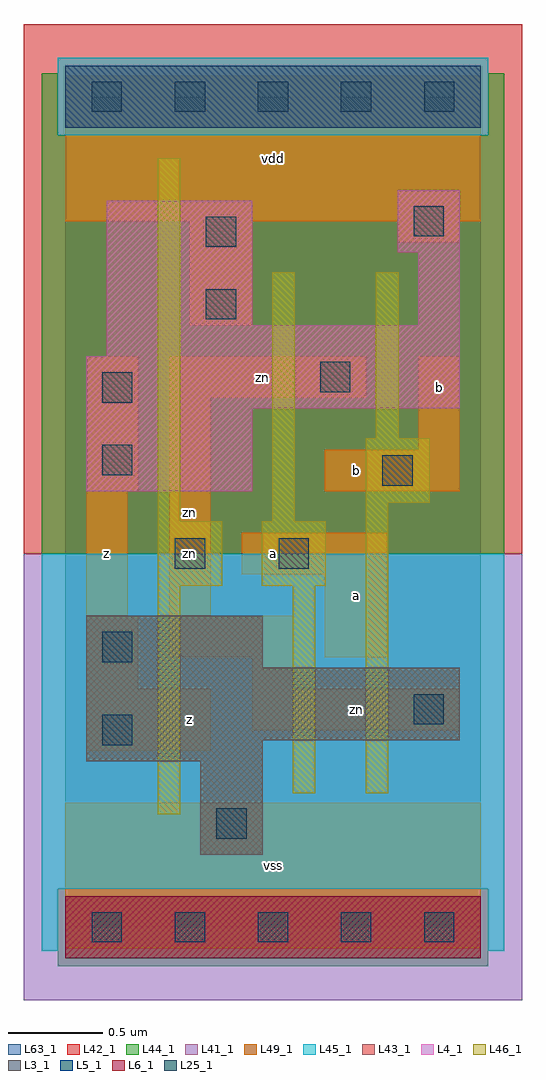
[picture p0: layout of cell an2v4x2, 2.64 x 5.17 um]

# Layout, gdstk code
import gdstk
lib = gdstk.Library(unit=1e-6, precision=1e-09)
def R(c, l, rs):  # rectangles x0, y0, x1, y1
    for r in rs: c.add(gdstk.rectangle(r[:2], r[2:], *l))
def A(c, l, x, y, w, h, nx, ny, dx, dy):  # array of equal rectangles
    R(c, l, [(x+i*dx, y+j*dy, x+i*dx+w, y+j*dy+h) for i in range(nx) for j in range(ny)])
L3_1 = (3, 1)
L4_1 = (4, 1)
L5_1 = (5, 1)
L6_1 = (6, 1)
L25_1 = (25, 1)
L41_1 = (41, 1)
L42_1 = (42, 1)
L43_1 = (43, 1)
L44_1 = (44, 1)
L45_1 = (45, 1)
L46_1 = (46, 1)
L49_1 = (49, 1)
L63_1 = (63, 1)

an2v4x2 = lib.new_cell('an2v4x2')
R(an2v4x2, L3_1, [(0.715,0.385,1.045,0.88), (0.11,0.88,1.045,0.99), (0.11,0.99,2.09,1.375), (0.11,1.375,1.045,1.65)])
R(an2v4x2, L4_1, [(0.11,2.31,0.99,2.75), (0.11,2.75,2.09,3.025), (0.22,3.025,2.09,3.19), (0.22,3.19,0.99,3.85), (1.87,3.19,2.09,3.575), (1.76,3.575,2.09,3.905)])
R(an2v4x2, L5_1, [(0,4.235,2.2,4.565)])
R(an2v4x2, L6_1, [(0,-0.165,2.2,0.165)])
A(an2v4x2, L25_1, 0.14, -0.08, 0.16, 0.16, 5, 2, 0.44, 4.4)
R(an2v4x2, L25_1, [(0.8,0.47,0.96,0.63), (0.195,0.965,0.355,1.125), (1.845,1.075,2.005,1.235), (0.195,1.405,0.355,1.565), (0.58,1.9,0.74,2.06), (1.13,1.9,1.29,2.06), (1.68,2.34,1.84,2.5), (0.195,2.395,0.355,2.555), (0.195,2.78,0.355,2.94), (1.35,2.835,1.51,2.995), (0.745,3.22,0.905,3.38), (0.745,3.605,0.905,3.765), (1.845,3.66,2.005,3.82)])
R(an2v4x2, L41_1, [(-0.22,-0.385,2.42,1.98)])
R(an2v4x2, L42_1, [(-0.22,1.98,2.42,4.785)])
R(an2v4x2, L43_1, [(0,-0.165,2.2,0.165), (0.715,0.385,1.045,0.88), (0.11,0.88,1.045,0.99), (0.11,0.99,2.09,1.375), (0.11,1.375,1.045,1.65), (0.11,2.31,0.99,2.75), (0.11,2.75,2.09,3.025), (0.22,3.025,2.09,3.19), (0.22,3.19,0.99,3.85), (1.87,3.19,2.09,3.575), (1.76,3.575,2.09,3.905), (0,4.235,2.2,4.565)])
R(an2v4x2, L44_1, [(-0.04,-0.205,2.24,0.205), (-0.125,1.98,2.325,4.195), (-0.125,4.195,-0.04,4.525), (2.24,4.195,2.325,4.525)])
R(an2v4x2, L45_1, [(-0.125,-0.125,-0.04,0.205), (2.24,-0.125,2.325,0.205), (-0.125,0.205,2.325,1.98), (-0.04,4.195,2.24,4.605)])
R(an2v4x2, L46_1, [(0.49,0.6,0.61,1.81), (1.205,0.71,1.325,1.81), (1.59,0.71,1.71,2.25), (0.49,1.81,0.83,2.15), (1.04,1.81,1.38,2.15), (0.49,2.15,0.61,4.075), (1.095,2.15,1.215,3.47), (1.59,2.25,1.93,2.59), (1.645,2.59,1.765,3.47)])
R(an2v4x2, L49_1, [(0,-0.11,2.2,0.66), (0.11,0.935,0.77,1.265), (0.99,1.045,2.09,1.265), (0.11,1.265,0.385,1.65), (0.99,1.265,1.21,1.43), (0.55,1.43,1.21,1.65), (1.375,1.43,1.705,1.87), (0.11,1.65,0.33,2.31), (0.55,1.65,0.77,2.805), (0.935,1.87,1.705,2.09), (0.11,2.31,0.385,3.025), (1.375,2.31,2.09,2.53), (1.87,2.53,2.09,3.025), (0.55,2.805,1.595,3.025), (0.66,3.19,0.99,3.74), (1.76,3.63,2.09,3.74), (0,3.74,2.2,4.51)])
R(an2v4x2, L63_1, [(0,0,2.2,4.4)])
an2v4x2.add(gdstk.Label('zn', (0.66,1.98), layer=49, texttype=1))
an2v4x2.add(gdstk.Label('z', (0.22,1.98), layer=49, texttype=1))
an2v4x2.add(gdstk.Label('z', (0.66,1.1), layer=49, texttype=1))
an2v4x2.add(gdstk.Label('zn', (0.66,2.2), layer=49, texttype=1))
an2v4x2.add(gdstk.Label('vss', (1.1,0.33), layer=49, texttype=1))
an2v4x2.add(gdstk.Label('a', (1.1,1.98), layer=49, texttype=1))
an2v4x2.add(gdstk.Label('a', (1.54,1.76), layer=49, texttype=1))
an2v4x2.add(gdstk.Label('b', (1.54,2.42), layer=49, texttype=1))
an2v4x2.add(gdstk.Label('zn', (1.045,2.915), layer=49, texttype=1))
an2v4x2.add(gdstk.Label('vdd', (1.1,4.07), layer=49, texttype=1))
an2v4x2.add(gdstk.Label('zn', (1.54,1.155), layer=49, texttype=1))
an2v4x2.add(gdstk.Label('b', (1.98,2.86), layer=49, texttype=1))

lib.write_gds('an2v4x2.gds')
